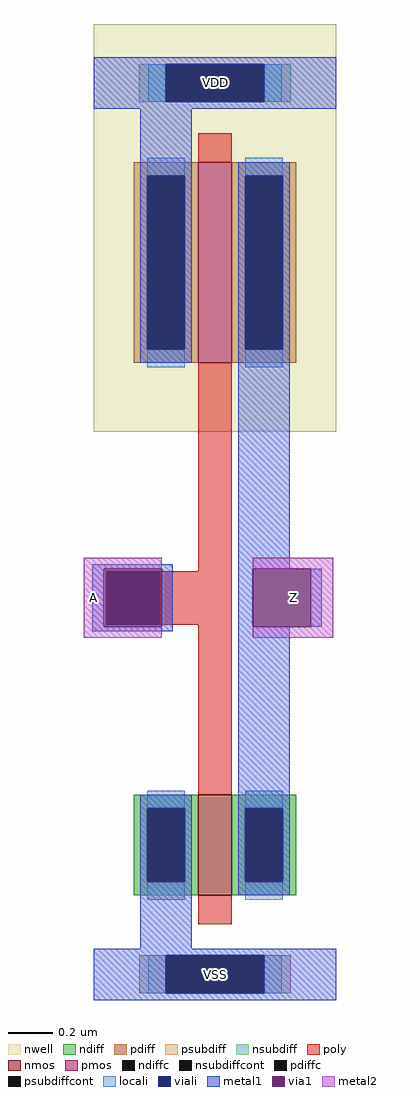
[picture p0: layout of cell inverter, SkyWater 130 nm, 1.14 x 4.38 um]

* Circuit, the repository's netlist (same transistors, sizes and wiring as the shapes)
**.subckt inverter out in vdd vss
*.opin out
*.ipin in
*.ipin vdd
*.ipin vss
XM1 out in vss vss sky130_fd_pr__nfet_01v8 L=0.15 W=0.45 nf=1 ad='int((nf+1)/2) * W/nf * 0.29' as='int((nf+2)/2) * W/nf * 0.29'
+ pd='2*int((nf+1)/2) * (W/nf + 0.29)' ps='2*int((nf+2)/2) * (W/nf + 0.29)' nrd='0.29 / W' nrs='0.29 / W'
+ sa=0 sb=0 sd=0 mult=1 m=1 
XM2 out in vdd vdd sky130_fd_pr__pfet_01v8 L=0.15 W=0.9 nf=1 ad='int((nf+1)/2) * W/nf * 0.29' as='int((nf+2)/2) * W/nf * 0.29'
+ pd='2*int((nf+1)/2) * (W/nf + 0.29)' ps='2*int((nf+2)/2) * (W/nf + 0.29)' nrd='0.29 / W' nrs='0.29 / W'
+ sa=0 sb=0 sd=0 mult=1 m=1 
**.ends
** flattened .save nodes
.end

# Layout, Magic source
magic
tech sky130A
magscale 1 2
<< nwell >>
rect -36 442 182 808
<< psubdiff >>
rect 5 -62 29 -28
rect 117 -62 141 -28
<< nsubdiff >>
rect 5 738 29 772
rect 117 738 141 772
<< psubdiffcont >>
rect 29 -62 117 -28
<< nsubdiffcont >>
rect 29 738 117 772
<< poly >>
rect 58 317 88 478
rect -25 269 88 317
rect 58 142 88 269
<< locali >>
rect 13 738 29 772
rect 117 738 133 772
rect 13 -62 29 -28
rect 117 -62 133 -28
<< viali >>
rect 29 738 117 772
rect -25 269 23 317
rect 29 -62 117 -28
<< metal1 >>
rect -36 772 182 778
rect -36 738 29 772
rect 117 738 182 772
rect -36 732 182 738
rect 6 684 52 732
rect -37 319 35 323
rect -37 267 -27 319
rect 25 267 35 319
rect -37 263 35 267
rect 94 319 140 504
rect 94 267 107 319
rect 159 267 169 319
rect 94 116 140 267
rect 6 -22 52 26
rect -36 -28 182 -22
rect -36 -62 29 -28
rect 117 -62 182 -28
rect -36 -68 182 -62
<< via1 >>
rect -27 317 25 319
rect -27 269 -25 317
rect -25 269 23 317
rect 23 269 25 317
rect -27 267 25 269
rect 107 267 159 319
<< metal2 >>
rect -45 319 25 329
rect -45 267 -27 319
rect -45 257 25 267
rect 107 319 179 329
rect 159 267 179 319
rect 107 257 179 267
use sky130_fd_pr__pfet_01v8_637R9P  sky130_fd_pr__pfet_01v8_637R9P_0
transform 1 0 73 0 1 594
box -109 -152 109 152
use sky130_fd_pr__nfet_01v8_NCV2PV  sky130_fd_pr__nfet_01v8_NCV2PV_0
transform 1 0 73 0 1 71
box -73 -71 73 71
<< labels >>
rlabel metal2 -45 257 -27 329 3 A
rlabel metal2 107 257 179 329 3 Z
rlabel metal1 29 -62 117 -28 5 VSS
rlabel nwell -36 733 182 778 1 VDD
<< end >>

# cell sky130_fd_pr__pfet_01v8_637R9P: kit device sky130_fd_pr__pfet_01v8, w 0.9 l 0.15 m 1 nf 1 diffcov 100 polycov 100 guard 0 glc 0 grc 0 gtc 0 gbc 0 tbcov 100 rlcov 100 topc 0 botc 0 poverlap 0 doverlap 0 lmin 0.15 wmin 0.42 compatible {sky130_fd_pr__pfet_01v8 sky130_fd_pr__pfet_01v8_lvt sky130_fd_pr__pfet_01v8_hvt sky130_fd_pr__pfet_g5v0d10v5} full_metal 0 viasrc { 100} viadrn 100 viagate 100 viagb 0 viagr 0 viagl 0 viagt 0

# cell sky130_fd_pr__nfet_01v8_NCV2PV: kit device sky130_fd_pr__nfet_01v8, w 0.450 l 0.150 m 1 nf 1 diffcov 100 polycov 100 guard 0 glc 0 grc 0 gtc 0 gbc 0 tbcov 100 rlcov 100 topc 0 botc 0 poverlap 0 doverlap 0 lmin 0.15 wmin 0.42 compatible {sky130_fd_pr__nfet_01v8 sky130_fd_pr__nfet_01v8_lvt sky130_fd_bs_flash__special_sonosfet_star sky130_fd_pr__nfet_g5v0d10v5 sky130_fd_pr__nfet_05v0_nvt} full_metal 0 viasrc 100 viadrn 100 viagate 100 viagb 0 viagr 0 viagl 0 viagt 0
